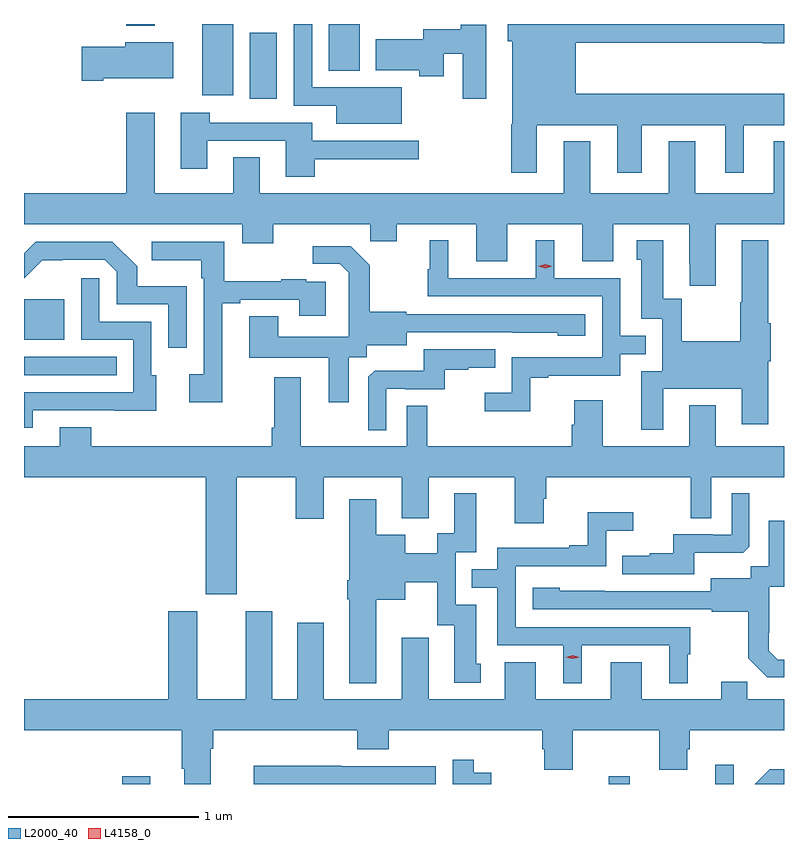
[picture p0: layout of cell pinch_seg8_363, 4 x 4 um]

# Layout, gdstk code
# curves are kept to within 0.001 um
import gdstk
lib = gdstk.Library(unit=1e-6, precision=1e-09)
def R(c, l, rs):  # rectangles x0, y0, x1, y1
    for r in rs: c.add(gdstk.rectangle(r[:2], r[2:], *l))
def P(c, l, *ps):  # polygons
    for p in ps: c.add(gdstk.Polygon(p, *l))
L2000_40 = (2000, 40)
L4158_0 = (4158, 0)

pinch_seg8_363 = lib.new_cell('pinch_seg8_363')
R(pinch_seg8_363, L2000_40, [(387.345,1113.554,387.493,1113.595), (389.905,1113.554,390.016,1113.595), (390.467,1113.554,390.564,1113.655), (386.828,1115.706,387.317,1115.802), (386.828,1115.891,387.04,1116.106), (388.016,1117.161,388.159,1117.507), (387.767,1117.179,387.928,1117.554), (388.433,1117.307,388.594,1117.554), (387.365,1117.544,387.517,1117.554)])
P(pinch_seg8_363, L2000_40, [(389.527,1117.022),(389.951,1117.022),(389.951,1116.771),(390.079,1116.771),(390.079,1117.022),(390.518,1117.022),(390.518,1116.771),(390.616,1116.771),(390.616,1117.022),(390.828,1117.022),(390.828,1117.186),(389.731,1117.186),(389.731,1117.456),(390.715,1117.456),(390.715,1117.454),(390.828,1117.454),(390.828,1117.554),(389.375,1117.554),(389.375,1117.464),(389.399,1117.464),(389.399,1117.026),(389.392,1117.026),(389.392,1116.771),(389.527,1116.771)],
  [(388.816,1117.222),(388.59,1117.222),(388.59,1117.221),(388.344,1117.221),(388.344,1117.554),(388.248,1117.554),(388.248,1117.125),(388.472,1117.125),(388.472,1117.028),(388.816,1117.028)],
  [(389.26,1117.549),(389.126,1117.549),(389.126,1117.527),(388.928,1117.527),(388.928,1117.474),(388.679,1117.474),(388.679,1117.31),(388.909,1117.31),(388.909,1117.28),(389.038,1117.28),(389.038,1117.397),(389.138,1117.397),(389.138,1117.161),(389.26,1117.161)],
  [(387.244,1117.268),(387.613,1117.268),(387.613,1117.459),(387.362,1117.459),(387.362,1117.434),(387.132,1117.434),(387.132,1117.256),(387.244,1117.256)],
  [(390.469,1116.5),(390.828,1116.5),(390.828,1116.937),(390.773,1116.937),(390.773,1116.664),(390.361,1116.664),(390.361,1116.937),(390.221,1116.937),(390.221,1116.664),(389.809,1116.664),(389.809,1116.937),(389.669,1116.937),(389.669,1116.664),(388.069,1116.664),(388.069,1116.854),(387.929,1116.854),(387.929,1116.664),(387.517,1116.664),(387.517,1117.087),(387.365,1117.087),(387.365,1116.664),(386.828,1116.664),(386.828,1116.5),(387.977,1116.5),(387.977,1116.401),(388.141,1116.401),(388.141,1116.5),(388.651,1116.5),(388.651,1116.41),(388.789,1116.41),(388.789,1116.5),(389.207,1116.5),(389.207,1116.306),(389.371,1116.306),(389.371,1116.5),(389.765,1116.5),(389.765,1116.306),(389.929,1116.306),(389.929,1116.5),(390.329,1116.5),(390.329,1116.289),(390.332,1116.289),(390.332,1116.177),(390.469,1116.177)],
  [(388.358,1116.842),(388.906,1116.842),(388.906,1116.939),(388.345,1116.939),(388.345,1117.035),(387.806,1117.035),(387.806,1117.087),(387.653,1117.087),(387.653,1116.792),(387.793,1116.792),(387.793,1116.939),(388.205,1116.939),(388.205,1116.75),(388.358,1116.75)],
  [(390.193,1115.633),(390.605,1115.633),(390.605,1115.448),(390.745,1115.448),(390.745,1115.78),(390.758,1115.78),(390.758,1115.98),(390.745,1115.98),(390.745,1116.415),(390.605,1116.415),(390.605,1116.089),(390.598,1116.089),(390.598,1115.884),(390.291,1115.884),(390.291,1116.107),(390.193,1116.107),(390.193,1116.415),(390.053,1116.415),(390.053,1116.312),(390.077,1116.312),(390.077,1116.003),(390.186,1116.003),(390.186,1115.727),(390.077,1115.727),(390.077,1115.418),(390.193,1115.418)],
  [(389.493,1115.691),(389.587,1115.691),(389.587,1115.703),(389.967,1115.703),(389.967,1115.817),(390.101,1115.817),(390.101,1115.913),(389.967,1115.913),(389.967,1116.216),(389.62,1116.216),(389.62,1116.415),(389.522,1116.415),(389.522,1116.216),(389.062,1116.216),(389.062,1116.415),(388.964,1116.415),(388.964,1116.264),(388.953,1116.264),(388.953,1116.12),(389.871,1116.12),(389.871,1115.799),(389.394,1115.799),(389.394,1115.614),(389.253,1115.614),(389.253,1115.516),(389.493,1115.516)],
  [(387.871,1116.084),(387.967,1116.084),(387.967,1116.102),(388.277,1116.102),(388.277,1116.018),(388.417,1116.018),(388.417,1116.198),(388.313,1116.198),(388.313,1116.211),(388.181,1116.211),(388.181,1116.2),(387.883,1116.2),(387.883,1116.408),(387.501,1116.408),(387.501,1116.311),(387.762,1116.311),(387.762,1116.215),(387.774,1116.215),(387.774,1115.71),(387.699,1115.71),(387.699,1115.562),(387.871,1115.562)],
  [(387.684,1116.175),(387.423,1116.175),(387.423,1116.278),(387.292,1116.408),(386.889,1116.408),(386.828,1116.347),(386.828,1116.216),(386.924,1116.311),(387.252,1116.312),(387.315,1116.249),(387.315,1116.078),(387.588,1116.078),(387.588,1115.85),(387.684,1115.85)],
  [(388.537,1115.8),(388.632,1115.8),(388.632,1115.864),(388.843,1115.864),(388.843,1115.931),(389.637,1115.93),(389.637,1115.912),(389.782,1115.912),(389.782,1116.027),(388.839,1116.027),(388.839,1116.04),(388.647,1116.04),(388.647,1116.285),(388.547,1116.385),(388.347,1116.385),(388.347,1116.291),(388.491,1116.291),(388.538,1116.244),(388.538,1116.149),(388.536,1116.149),(388.536,1115.908),(388.165,1115.908),(388.165,1116.017),(388.013,1116.017),(388.013,1115.798),(388.433,1115.798),(388.433,1115.562),(388.537,1115.562)],
  [(386.875,1115.52),(387.305,1115.52),(387.305,1115.519),(387.523,1115.519),(387.523,1115.706),(387.498,1115.706),(387.498,1115.988),(387.225,1115.988),(387.225,1116.217),(387.129,1116.217),(387.129,1115.892),(387.402,1115.892),(387.402,1115.616),(386.828,1115.616),(386.828,1115.43),(386.875,1115.43)],
  [(388.734,1115.634),(388.834,1115.634),(388.834,1115.631),(389.042,1115.631),(389.042,1115.733),(389.165,1115.733),(389.165,1115.744),(389.309,1115.744),(389.309,1115.841),(388.932,1115.841),(388.932,1115.729),(388.673,1115.729),(388.641,1115.697),(388.641,1115.417),(388.734,1115.417)],
  [(387.949,1115.168),(388.258,1115.168),(388.258,1114.95),(388.405,1114.95),(388.405,1115.168),(388.817,1115.168),(388.817,1114.952),(388.957,1114.952),(388.957,1115.168),(389.411,1115.168),(389.411,1114.926),(389.563,1114.926),(389.563,1115.055),(389.576,1115.055),(389.576,1115.168),(390.336,1115.168),(390.336,1114.954),(390.444,1114.954),(390.444,1115.168),(390.828,1115.168),(390.828,1115.332),(390.469,1115.332),(390.469,1115.548),(390.329,1115.548),(390.329,1115.332),(389.875,1115.332),(389.875,1115.575),(389.723,1115.575),(389.723,1115.445),(389.711,1115.445),(389.711,1115.332),(388.951,1115.332),(388.951,1115.546),(388.842,1115.546),(388.842,1115.332),(388.285,1115.332),(388.285,1115.695),(388.145,1115.695),(388.145,1115.428),(388.133,1115.428),(388.133,1115.332),(387.181,1115.332),(387.181,1115.431),(387.017,1115.431),(387.017,1115.332),(386.828,1115.332),(386.828,1115.168),(387.785,1115.168),(387.785,1114.554),(387.949,1114.554)],
  [(390.355,1114.772),(390.613,1114.772),(390.645,1114.803),(390.645,1115.083),(390.552,1115.083),(390.552,1114.866),(390.452,1114.866),(390.452,1114.869),(390.245,1114.869),(390.245,1114.768),(390.121,1114.768),(390.121,1114.756),(389.977,1114.756),(389.977,1114.659),(390.355,1114.659)],
  [(388.681,1114.523),(388.834,1114.523),(388.834,1114.616),(389.004,1114.616),(389.004,1114.389),(389.093,1114.389),(389.093,1114.086),(389.233,1114.086),(389.233,1114.188),(389.209,1114.188),(389.209,1114.497),(389.1,1114.497),(389.1,1114.773),(389.209,1114.773),(389.209,1115.083),(389.093,1115.083),(389.093,1114.874),(389.003,1114.874),(389.003,1114.768),(388.834,1114.768),(388.834,1114.867),(388.681,1114.867),(388.681,1115.053),(388.541,1115.053),(388.541,1114.627),(388.529,1114.627),(388.529,1114.527),(388.541,1114.527),(388.541,1114.085),(388.681,1114.085)],
  [(389.764,1114.284),(390.224,1114.284),(390.224,1114.085),(390.322,1114.085),(390.322,1114.236),(390.334,1114.236),(390.334,1114.38),(389.415,1114.38),(389.415,1114.701),(389.892,1114.701),(389.892,1114.886),(390.034,1114.886),(390.034,1114.985),(389.794,1114.985),(389.794,1114.81),(389.699,1114.81),(389.699,1114.797),(389.319,1114.797),(389.319,1114.683),(389.185,1114.683),(389.185,1114.587),(389.319,1114.587),(389.319,1114.284),(389.666,1114.284),(389.666,1114.085),(389.764,1114.085)],
  [(390.828,1114.209),(390.795,1114.209),(390.748,1114.256),(390.748,1114.351),(390.75,1114.351),(390.75,1114.592),(390.828,1114.592),(390.828,1114.939),(390.749,1114.939),(390.749,1114.7),(390.654,1114.7),(390.654,1114.636),(390.443,1114.636),(390.443,1114.569),(389.649,1114.57),(389.649,1114.588),(389.505,1114.588),(389.505,1114.473),(390.447,1114.473),(390.447,1114.461),(390.639,1114.461),(390.639,1114.215),(390.739,1114.115),(390.828,1114.115)],
  [(387.587,1114),(386.828,1114),(386.828,1113.836),(387.659,1113.836),(387.659,1113.634),(387.671,1113.634),(387.671,1113.554),(387.811,1113.554),(387.811,1113.74),(387.824,1113.74),(387.824,1113.836),(388.583,1113.836),(388.583,1113.737),(388.748,1113.737),(388.748,1113.836),(389.555,1113.836),(389.555,1113.738),(389.567,1113.738),(389.567,1113.628),(389.715,1113.628),(389.715,1113.836),(390.172,1113.836),(390.172,1113.628),(390.319,1113.628),(390.319,1113.738),(390.332,1113.738),(390.332,1113.836),(390.828,1113.836),(390.828,1114),(390.635,1114),(390.635,1114.091),(390.497,1114.091),(390.497,1114),(390.079,1114),(390.079,1114.195),(389.915,1114.195),(389.915,1114),(389.521,1114),(389.521,1114.195),(389.357,1114.195),(389.357,1114),(388.957,1114),(388.957,1114.324),(388.817,1114.324),(388.817,1114),(388.405,1114),(388.405,1114.402),(388.265,1114.402),(388.265,1114),(388.135,1114),(388.135,1114.462),(387.995,1114.462),(387.995,1114),(387.739,1114),(387.739,1114.462),(387.587,1114.462)],
  [(389.286,1113.612),(389.194,1113.612),(389.194,1113.682),(389.085,1113.682),(389.085,1113.554),(389.286,1113.554)],
  [(388.995,1113.648),(388.499,1113.648),(388.499,1113.65),(388.036,1113.65),(388.036,1113.554),(388.995,1113.554)],
  [(390.828,1113.632),(390.752,1113.632),(390.674,1113.554),(390.828,1113.554)])
P(pinch_seg8_363, L4158_0, [(389.715,1114.212),(389.679,1114.222),(389.679,1114.222),(389.679,1114.222),(389.715,1114.232),(389.751,1114.222),(389.751,1114.222),(389.751,1114.222)],
  [(389.571,1116.269),(389.535,1116.279),(389.535,1116.279),(389.535,1116.28),(389.571,1116.289),(389.607,1116.278),(389.607,1116.278),(389.607,1116.278)])

lib.write_gds('pinch_seg8_363.gds')
